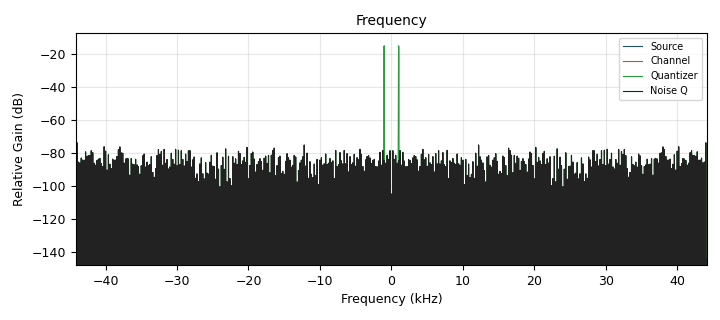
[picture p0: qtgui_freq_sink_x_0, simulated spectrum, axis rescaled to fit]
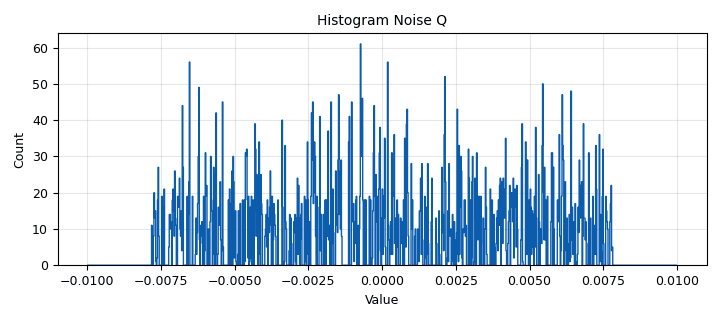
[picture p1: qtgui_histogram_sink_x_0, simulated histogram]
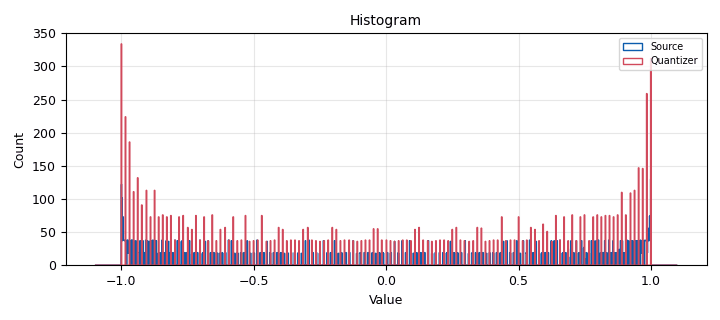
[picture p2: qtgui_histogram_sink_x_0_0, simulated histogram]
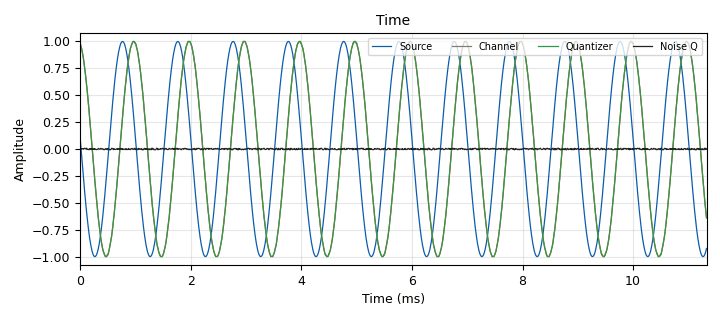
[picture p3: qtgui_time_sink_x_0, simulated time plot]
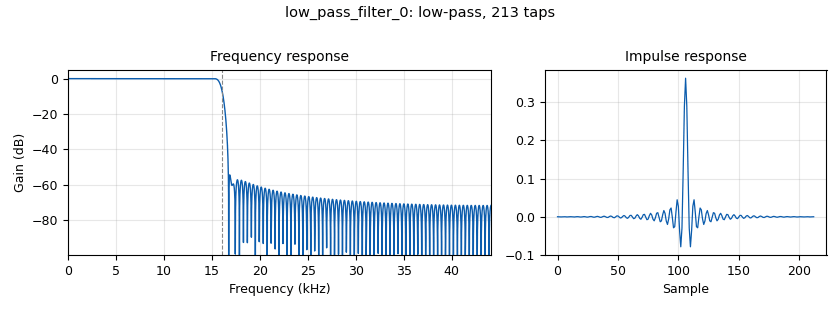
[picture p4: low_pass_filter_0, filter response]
options:
  parameters:
    author: EFREN
    generate_options: qt_gui
    id: CuantizadorClase
    output_language: python
    title: CuantizadorUniformeUIS
  states: {}

blocks:
- name: amplitude
  id: variable_qtgui_range
  parameters:
    gui_hint: tab_source@0:1,0
    label: Amplitude
    start: '0'
    step: '0.1'
    stop: '10'
    value: '1'
    widget: eng_slider
  states: {}
- name: fcut
  id: variable_qtgui_range
  parameters:
    comment: Amplitud del ruido
    gui_hint: tab_channel@0:3,0
    label: cutoff frequency
    start: '0'
    step: '100'
    stop: '22050'
    value: '16000'
    widget: counter
  states: {}
- name: frequency
  id: variable_qtgui_range
  parameters:
    gui_hint: tab_source@0:2,0
    label: Frequency in Hz
    start: '0'
    step: '100'
    stop: 1e4
    value: 1e3
  states: {}
- name: n
  id: variable_qtgui_range
  parameters:
    gui_hint: tab_source@0:1,1
    label: '# bit'
    start: '1'
    step: '1'
    stop: '12'
    value: '6'
    widget: eng_slider
  states: {}
- name: noise
  id: variable_qtgui_range
  parameters:
    comment: Amplitud del ruido
    gui_hint: tab_channel@0:1,0
    label: Noise voltage
    start: '0'
    step: '0.01'
    stop: '0.5'
    value: '0'
  states: {}
- name: samp_rate
  id: variable
  parameters:
    value: '88200'
  states: {}
- name: waveform
  id: variable_qtgui_chooser
  parameters:
    gui_hint: tab_source@0:2,1
    label: Waveform
    labels: '["Constant", "Sine", "Cosine", "Square", "Triangle", "Saw Tooth"]'
    num_opts: '0'
    options: '[100, 101, 102, 103, 104, 105]'
    type: raw
    value: '102'
  states: {}
- name: analog_noise_source_x_0
  id: analog_noise_source_x
  parameters:
    amp: noise
    noise_type: analog.GR_GAUSSIAN
    seed: '0'
    type: float
  states: {}
- name: analog_sig_source_x_0
  id: analog_sig_source_x
  parameters:
    amp: amplitude
    freq: frequency
    offset: '0'
    phase: '0'
    samp_rate: samp_rate
    type: float
    waveform: waveform
  states: {}
- name: blocks_add_xx_0
  id: blocks_add_xx
  parameters:
    type: float
  states: {}
- name: blocks_float_to_complex_1
  id: blocks_float_to_complex
  parameters: {}
  states: {}
- name: blocks_float_to_short_0
  id: blocks_float_to_short
  parameters:
    scale: '1'
  states: {}
- name: blocks_multiply_const_vxx_0
  id: blocks_multiply_const_vxx
  parameters:
    const: math.pow(2,n)/amplitude
    type: float
  states: {}
- name: blocks_multiply_const_vxx_0_0
  id: blocks_multiply_const_vxx
  parameters:
    const: amplitude/math.pow(2,n)
    type: float
  states: {}
- name: blocks_multiply_const_vxx_0_0_0
  id: blocks_multiply_const_vxx
  parameters:
    const: amplitude/math.pow(2,n)
    type: float
  states: {}
- name: blocks_short_to_float_0
  id: blocks_short_to_float
  parameters:
    scale: '1'
  states: {}
- name: blocks_sub_xx_0
  id: blocks_sub_xx
  parameters:
    type: float
  states: {}
- name: blocks_throttle2_0
  id: blocks_throttle2
  parameters:
    samples_per_second: samp_rate
    type: float
  states: {}
- name: import_0
  id: import
  parameters:
    imports: import math
  states: {}
- name: import_0_0
  id: import
  parameters:
    imports: import numpy
  states: {}
- name: low_pass_filter_0
  id: low_pass_filter
  parameters:
    cutoff_freq: fcut
    gain: '1'
    interp: '1'
    samp_rate: samp_rate
    type: interp_fir_filter_fff
    width: '1000'
    win: window.WIN_HAMMING
  states: {}
- name: low_pass_filter_0_0
  id: low_pass_filter
  parameters:
    cutoff_freq: fcut
    gain: '1'
    interp: '1'
    samp_rate: samp_rate
    type: interp_fir_filter_fff
    width: '1000'
    win: window.WIN_HAMMING
  states: {state: disabled}
- name: qtgui_freq_sink_x_0
  id: qtgui_freq_sink_x
  parameters:
    average: '0.2'
    bw: samp_rate
    fc: '0'
    fftsize: '16384'
    grid: 'True'
    gui_hint: 3,0,4,2
    label1: '''Source'''
    label2: '''Channel'''
    label3: '''Quantizer'''
    label4: '''Noise Q'''
    name: '"Frequency"'
    nconnections: '4'
    type: float
    ymax: '-30'
    ymin: '-100'
  states: {}
- name: qtgui_histogram_sink_x_0
  id: qtgui_histogram_sink_x
  parameters:
    accum: 'True'
    bins: '10000'
    grid: 'True'
    gui_hint: 9,2,6,2
    name: '"Histogram Noise Q"'
    size: '8192'
    type: float
    xmax: '0.01'
    xmin: '-0.01'
  states: {}
- name: qtgui_histogram_sink_x_0_0
  id: qtgui_histogram_sink_x
  parameters:
    accum: 'True'
    bins: '10000'
    grid: 'True'
    gui_hint: 9,0,2,2
    label1: Source
    label2: Quantizer
    marker2: '2'
    name: '"Histogram"'
    nconnections: '2'
    size: '8192'
    style2: '3'
    type: float
    xmax: '1.1'
    xmin: '-1.1'
  states: {}
- name: qtgui_time_sink_x_0
  id: qtgui_time_sink_x
  parameters:
    grid: 'True'
    gui_hint: 3,2,4,2
    label1: Source
    label2: Channel
    label3: Quantizer
    label4: Noise Q
    name: '"Time"'
    nconnections: '4'
    size: '1000'
    srate: samp_rate
    type: float
  states: {}
- name: tab_channel
  id: qtgui_tab_widget
  parameters:
    gui_hint: 0,1,1,1
    label0: Channel Controls
    num_tabs: '1'
  states: {}
- name: tab_source
  id: qtgui_tab_widget
  parameters:
    gui_hint: 0,0,1,1
    label0: Source Controls
    num_tabs: '1'
  states: {}
- name: uhd_usrp_sink_0
  id: uhd_usrp_sink
  parameters:
    ant0: '"TX/RX"'
    center_freq0: '100000'
    gain0: '10'
    samp_rate: samp_rate
    sync: pc_clock
    type: fc32
  states: {}
- name: virtual_sink_0
  id: virtual_sink
  parameters:
    stream_id: source
  states: {}
- name: virtual_sink_0_0
  id: virtual_sink
  parameters:
    stream_id: quantizer
  states: {}
- name: virtual_sink_0_0_0
  id: virtual_sink
  parameters:
    stream_id: channel
  states: {}
- name: virtual_sink_0_0_0_0
  id: virtual_sink
  parameters:
    stream_id: channel
  states: {state: disabled}
- name: virtual_sink_0_0_1
  id: virtual_sink
  parameters:
    stream_id: NoiseQ
  states: {}
- name: virtual_source_0
  id: virtual_source
  parameters:
    stream_id: channel
  states: {}
- name: virtual_source_0_0
  id: virtual_source
  parameters:
    stream_id: source
  states: {}
- name: virtual_source_0_0_0
  id: virtual_source
  parameters:
    stream_id: source
  states: {state: disabled}
- name: virtual_source_0_1
  id: virtual_source
  parameters:
    stream_id: quantizer
  states: {}
- name: virtual_source_0_1_0
  id: virtual_source
  parameters:
    stream_id: quantizer
  states: {}
- name: virtual_source_0_1_0_0
  id: virtual_source
  parameters:
    stream_id: channel
  states: {}
- name: virtual_source_0_2
  id: virtual_source
  parameters:
    stream_id: quantizer
  states: {}
- name: virtual_source_0_2_0
  id: virtual_source
  parameters:
    stream_id: NoiseQ
  states: {}
- name: virtual_source_0_2_0_0
  id: virtual_source
  parameters:
    stream_id: NoiseQ
  states: {}
- name: virtual_source_1
  id: virtual_source
  parameters:
    stream_id: channel
  states: {}
- name: virtual_source_110
  id: virtual_source
  parameters:
    stream_id: source
  states: {}
- name: virtual_source_110_0
  id: virtual_source
  parameters:
    stream_id: source
  states: {}

connections:
- [analog_noise_source_x_0, '0', blocks_add_xx_0, '1']
- [analog_sig_source_x_0, '0', blocks_throttle2_0, '0']
- [blocks_add_xx_0, '0', low_pass_filter_0, '0']
- [blocks_float_to_complex_1, '0', uhd_usrp_sink_0, '0']
- [blocks_float_to_short_0, '0', blocks_short_to_float_0, '0']
- [blocks_multiply_const_vxx_0, '0', blocks_float_to_short_0, '0']
- [blocks_multiply_const_vxx_0_0, '0', virtual_sink_0_0, '0']
- [blocks_multiply_const_vxx_0_0_0, '0', blocks_float_to_complex_1, '0']
- [blocks_short_to_float_0, '0', blocks_multiply_const_vxx_0_0, '0']
- [blocks_sub_xx_0, '0', virtual_sink_0_0_1, '0']
- [blocks_throttle2_0, '0', virtual_sink_0, '0']
- [low_pass_filter_0, '0', virtual_sink_0_0_0, '0']
- [low_pass_filter_0_0, '0', virtual_sink_0_0_0_0, '0']
- [virtual_source_0, '0', blocks_sub_xx_0, '0']
- [virtual_source_0_0, '0', blocks_add_xx_0, '0']
- [virtual_source_0_0_0, '0', low_pass_filter_0_0, '0']
- [virtual_source_0_1, '0', blocks_sub_xx_0, '1']
- [virtual_source_0_1_0, '0', qtgui_histogram_sink_x_0_0, '1']
- [virtual_source_0_1_0_0, '0', qtgui_freq_sink_x_0, '1']
- [virtual_source_0_1_0_0, '0', qtgui_time_sink_x_0, '1']
- [virtual_source_0_2, '0', blocks_multiply_const_vxx_0_0_0, '0']
- [virtual_source_0_2, '0', qtgui_freq_sink_x_0, '2']
- [virtual_source_0_2, '0', qtgui_time_sink_x_0, '2']
- [virtual_source_0_2_0, '0', qtgui_freq_sink_x_0, '3']
- [virtual_source_0_2_0, '0', qtgui_time_sink_x_0, '3']
- [virtual_source_0_2_0_0, '0', qtgui_histogram_sink_x_0, '0']
- [virtual_source_1, '0', blocks_multiply_const_vxx_0, '0']
- [virtual_source_110, '0', qtgui_freq_sink_x_0, '0']
- [virtual_source_110, '0', qtgui_time_sink_x_0, '0']
- [virtual_source_110_0, '0', qtgui_histogram_sink_x_0_0, '0']

metadata:
  file_format: 1
  grc_version: v3.10.11.0-89-ga17f69e7
